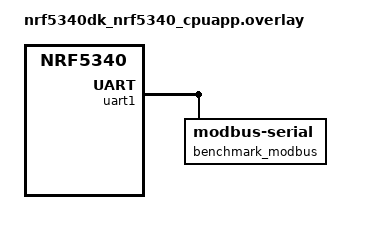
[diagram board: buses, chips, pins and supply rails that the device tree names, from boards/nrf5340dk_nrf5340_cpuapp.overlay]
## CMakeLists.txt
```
cmake_minimum_required(VERSION 3.20.0)

set(CONF_FILE
  "${CMAKE_CURRENT_SOURCE_DIR}/prj.conf"
  "${CMAKE_CURRENT_SOURCE_DIR}/../DTMC_ZEPHYR_SYSTEM_COMMON.conf"
  "${CMAKE_CURRENT_SOURCE_DIR}/../DTMC_ZEPHYR_DTIOX_MODBUS_COMMON.conf"
)

find_package(Zephyr REQUIRED HINTS $ENV{ZEPHYR_BASE})

project(app_zephyr)

include(${CMAKE_CURRENT_LIST_DIR}/../../dthelpers.cmake)
dthelpers_resolve(DTCORE_DIR dtcore "dtcore repo directory")
dthelpers_resolve(DTMC_BASE_DIR dtmc_base "dtmc_base repo directory")

add_subdirectory(${DTCORE_DIR}/dtcore_library           ${CMAKE_BINARY_DIR}/dtcore_library)
add_subdirectory(${DTMC_BASE_DIR}/dtmc_base_library     ${CMAKE_BINARY_DIR}/dtmc_base_library)
add_subdirectory(${DTMC_BASE_DIR}/dtmc_base_benchmarks  ${CMAKE_BINARY_DIR}/dtmc_base_benchmarks)
add_subdirectory(../../dtmc_zephyr_library              ${CMAKE_BINARY_DIR}/dtmc_zephyr_library)


target_include_directories(app PRIVATE
    ${DTCORE_DIR}/dtcore_library/include
    ${DTMC_BASE_DIR}/dtmc_base_library/include
    ${DTMC_BASE_DIR}/dtmc_base_benchmarks/include
    ${DTMC_ZEPHYR_DIR}/dtmc_zephyr_library/include
)

# Use the Zephyr build target (called 'app') – this is created implicitly
target_sources(app PRIVATE
    src/main.c
)
```

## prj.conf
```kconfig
# ---- memory configuration
# our dtlog uses at least 1k
CONFIG_MAIN_STACK_SIZE=8192
CONFIG_HEAP_MEM_POOL_SIZE=32768


# ---- system, kernel, logging and console configuration
# see DTMC_ZEPHYR_SYSTEM_COMMON.conf included by CMakeLists.txt

# ---- modbus configuration
# see DTMC_ZEPHYR_DTXIO_MODBUS_COMMON.conf included by CMakeLists.txt
```

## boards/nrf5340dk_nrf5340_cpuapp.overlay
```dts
/* a second UART (uart1) on Tx=P1.01 Rx=P1.00 */
&uart1 {
    label = "benchmark_uart";
    status = "okay";

    benchmark_modbus: modbus {
        compatible = "zephyr,modbus-serial";
        status = "okay";
        label = "benchmark_modbus"; /* <-- THIS is what modbus_iface_get_by_name() will match */
    };
};
```

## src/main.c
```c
#include <dtcore/dterr.h>

#include <dtcore/dtlog.h>
#include <dtcore/dtstr.h>

#include <dtmc_base/dtruntime.h>

#include <dtmc_base/dtframer.h>
#include <dtmc_base/dtiox.h>
#include <dtmc_base/dtnetportal.h>
#include <dtmc_base/dtsemaphore.h>

// we can cover these concrete objects platform agnostically
#include <dtmc_base/dtframer_simple.h>
#include <dtmc_base/dtnetportal_iox.h>
#include <dtmc_base/dtsemaphore.h>

// these concrete objects are platform specific
#include <dtmc/dtiox_zephyr_modbus_slave.h>

#include <dtmc_base_benchmarks/benchmark_netportal_duplex.h>

#define TAG "main"

// --------------------------------------------------------------------------------------
int
main(int argc, char* argv[])
{
    dterr_t* dterr = NULL;
    dtiox_handle iox_handle = NULL;
    dtframer_handle framer_handle = NULL;
    dtnetportal_handle netportal_handle = NULL;

    benchmark_t* benchmark = NULL;

    // ==== print the currently registered devices ====
    {
        char* s = NULL;
        DTERR_C(dtruntime_format_devices_as_table(&s));

        dtlog_info(TAG, "devices:\n%s", s);

        dtstr_dispose(s);
    }

    // === create the concrete IOX object we need ===
    {
        dtiox_zephyr_modbus_slave_t* o = NULL;
        DTERR_C(dtiox_zephyr_modbus_slave_create(&o));
        iox_handle = (dtiox_handle)o;
        dtiox_zephyr_modbus_slave_config_t c = { 0 };
        c.device_tree_name = "benchmark_modbus";
        c.unit_id = 1;
        c.uart_config = dtuart_helper_default_config;
        // enough to absorb a single master write with all the modbus registers in our protocol
        c.rx_ring_capacity = 256;

        DTERR_C(dtiox_zephyr_modbus_slave_configure(o, &c));
    }

    // === the framer ===
    {
        dtframer_simple_t* o = NULL;
        DTERR_C(dtframer_simple_create(&o));
        framer_handle = (dtframer_handle)o;
        dtframer_simple_config_t c = { 0 };
        DTERR_C(dtframer_simple_configure(o, &c));
    }

    // === the netportal ===
    {
        dtnetportal_iox_t* o = NULL;
        DTERR_C(dtnetportal_iox_create(&o));
        netportal_handle = (dtnetportal_handle)o;
        dtnetportal_iox_config_t c = { 0 };
        c.iox_handle = iox_handle;
        c.framer_handle = framer_handle;
        DTERR_C(dtnetportal_iox_configure(o, &c));
    }

    // === create and configure the benchmark instance ===
    {
        DTERR_C(benchmark_create(&benchmark));
        benchmark_config_t c = { 0 };
        c.netportal_handle = netportal_handle;
        // zephyr modbus slave is finicky about writing to a non-existent master
        c.inhibit_write_until_first_read = true;
        DTERR_C(benchmark_configure(benchmark, &c));
    }

    // === start the benchmark ===
    DTERR_C(benchmark_start(benchmark));

cleanup:
    int rc = (dterr != NULL) ? -1 : 0;

    // log and dispose error chain if any
    dtlog_dterr(TAG, dterr);

    dterr_dispose(dterr);

    // dispose the benchmark instance
    benchmark_dispose(benchmark);

    // dispose the objects

    dtnetportal_dispose(netportal_handle);

    dtframer_dispose(framer_handle);

    dtiox_dispose(iox_handle);

    return rc;
}
```
